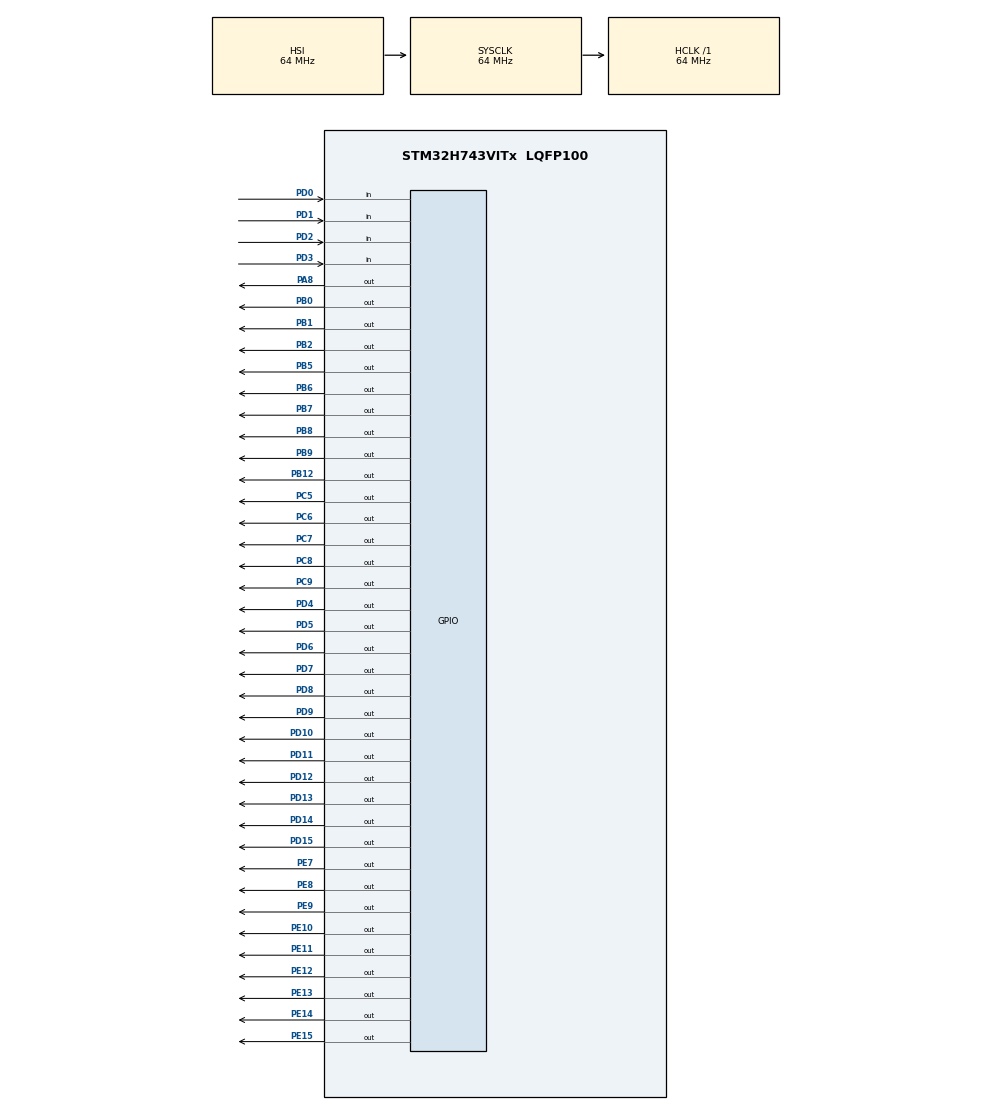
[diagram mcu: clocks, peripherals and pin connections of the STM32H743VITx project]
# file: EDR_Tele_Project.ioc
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CORTEX_M7.default_mode_Activation=1
Mcu.Family=STM32H7
Mcu.Name=STM32H743VITx
Mcu.Package=LQFP100
NVIC.PriorityGroup=NVIC_PRIORITYGROUP_4
PA13\ (JTMS/SWDIO).Signal=DEBUG_JTMS-SWDIO
PA14\ (JTCK/SWCLK).Signal=DEBUG_JTCK-SWCLK
PA8.Signal=GPIO_Output
PB0.Signal=GPIO_Output
PB1.Signal=GPIO_Output
PB12.Signal=GPIO_Output
PB2.Signal=GPIO_Output
PB5.Signal=GPIO_Output
PB6.Signal=GPIO_Output
PB7.Signal=GPIO_Output
PB8.Signal=GPIO_Output
PB9.Signal=GPIO_Output
PC5.Signal=GPIO_Output
PC6.Signal=GPIO_Output
PC7.Signal=GPIO_Output
PC8.Signal=GPIO_Output
PC9.Signal=GPIO_Output
PD0.Signal=GPIO_Input
PD1.Signal=GPIO_Input
PD10.Signal=GPIO_Output
PD11.Signal=GPIO_Output
PD12.Signal=GPIO_Output
PD13.Signal=GPIO_Output
PD14.Signal=GPIO_Output
PD15.Signal=GPIO_Output
PD2.Signal=GPIO_Input
PD3.Signal=GPIO_Input
PD4.Signal=GPIO_Output
PD5.Signal=GPIO_Output
PD6.Signal=GPIO_Output
PD7.Signal=GPIO_Output
PD8.Signal=GPIO_Output
PD9.Signal=GPIO_Output
PE10.Signal=GPIO_Output
PE11.Signal=GPIO_Output
PE12.Signal=GPIO_Output
PE13.Signal=GPIO_Output
PE14.Signal=GPIO_Output
PE15.Signal=GPIO_Output
PE7.Signal=GPIO_Output
PE8.Signal=GPIO_Output
PE9.Signal=GPIO_Output
ProjectManager.HeapSize=0x200
ProjectManager.StackSize=0x400
ProjectManager.TargetToolchain=STM32CubeIDE
RCC.ADCFreq_Value=129000000
RCC.APB1Freq_Value=64000000
RCC.APB2Freq_Value=64000000
RCC.APB3Freq_Value=64000000
RCC.APB4Freq_Value=64000000
RCC.CortexFreq_Value=64000000
RCC.HCLKFreq_Value=64000000
RCC.SYSCLKFreq_VALUE=64000000
RCC.USBFreq_Value=129000000
VP_MEMORYMAP_VS_MEMORYMAP.Mode=CurAppReg
board=custom

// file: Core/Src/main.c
/* USER CODE BEGIN Header */
/**
  ******************************************************************************
  * @file           : main.c
  * @brief          : Typing UI - Accumulating message buffer with digits,
  *                    backspace, and A-E letters, using the proven
  *                    active-high row/no-pull column keypad scan logic.
  ******************************************************************************
  */
/* USER CODE END Header */
#include "main.h"
#include <string.h>
#include <stdio.h>

void SystemClock_Config(void);
static void MPU_Config(void);
static void MX_GPIO_Init(void);

/* USER CODE BEGIN PFP */
/**
  * Generic parallel-bus pin description, so the same driver code can drive
  * either physical display just by passing a different LCD_Pins instance —
  * avoids duplicating every drawing function for Display 2.
  */
typedef struct {
  GPIO_TypeDef* rst_port; uint16_t rst_pin;
  GPIO_TypeDef* cs_port;  uint16_t cs_pin;
  GPIO_TypeDef* rs_port;  uint16_t rs_pin;  // RS/DC
  GPIO_TypeDef* wr_port;  uint16_t wr_pin;
  GPIO_TypeDef* rd_port;  uint16_t rd_pin;
  GPIO_TypeDef* data_port; // 8-bit data bus on bits 8-15 of this port (D0-D7)
} LCD_Pins;

static const LCD_Pins LCD1_PINS = {
  .rst_port = GPIOE, .rst_pin = GPIO_PIN_7,
  .cs_port  = GPIOB, .cs_pin  = GPIO_PIN_2,
  .rs_port  = GPIOB, .rs_pin  = GPIO_PIN_1,
  .wr_port  = GPIOB, .wr_pin  = GPIO_PIN_0,
  .rd_port  = GPIOC, .rd_pin  = GPIO_PIN_5,
  .data_port = GPIOE
};

static const LCD_Pins LCD2_PINS = {
  .rst_port = GPIOC, .rst_pin = GPIO_PIN_6,
  .cs_port  = GPIOC, .cs_pin  = GPIO_PIN_7,
  .rs_port  = GPIOC, .rs_pin  = GPIO_PIN_8,
  .wr_port  = GPIOC, .wr_pin  = GPIO_PIN_9,
  .rd_port  = GPIOA, .rd_pin  = GPIO_PIN_8,
  .data_port = GPIOD
};

static inline void WR_STROBE(const LCD_Pins* lcd);
void write8(const LCD_Pins* lcd, uint8_t d);
void writeCommand(const LCD_Pins* lcd, uint8_t c);
void writeData(const LCD_Pins* lcd, uint8_t d);
void lcdReset(const LCD_Pins* lcd);
void lcdInit(const LCD_Pins* lcd);
void setAddr(const LCD_Pins* lcd, uint16_t x1, uint16_t y1, uint16_t x2, uint16_t y2);
void fillScreen(const LCD_Pins* lcd, uint16_t color);
void drawRectangle(const LCD_Pins* lcd, uint16_t x, uint16_t y, uint16_t w, uint16_t h, uint16_t color);
void drawChar(const LCD_Pins* lcd, char ch, uint16_t x, uint16_t y, uint8_t scale, uint16_t color, uint16_t bg);
void printString(const LCD_Pins* lcd, const char* str, uint16_t x, uint16_t y, uint8_t scale, uint16_t color, uint16_t bg);
void checkNavKeys(void);
void scanMatrixKeypad(void);
void handleMatrixKeyPress(uint8_t row, uint8_t col);
void Process_UI_Screen_Updates(void);
void Append_Char(char c);
void Backspace_Char(void);
void Confirm_Message(void);
void Move_Selection(int8_t delta);
void Confirm_Coding_Selection(void);
void Prob_Digit(uint8_t digit);
void Prob_Backspace(void);
void Confirm_Prob_Entry(void);
/* USER CODE END PFP */

typedef enum {
  STATE_ENTER_MSG,
  STATE_SELECT_CODING,
  STATE_ENTER_PROBS,    // Huffman/Shannon Fano: enter A-E probabilities
  STATE_FIXED_RESULT,   // Fixed Length: show A-E code table
  STATE_CONFIRMED       // Final confirmation screen
} AppState;

static AppState app_state = STATE_ENTER_MSG;
static AppState last_rendered_state = (AppState)-1; // forces first-time full draw
static int8_t coding_selection = 0; // 0=Fixed, 1=Huffman, 2=Shannon Fano
static int8_t last_rendered_selection = -1;

// Probability entry state
static uint8_t  prob_cursor = 0;           // which character (0=A .. 4=E) is active
static uint16_t prob_values[5] = {0,0,0,0,0}; // confirmed % for each character
static uint16_t prob_current = 0;          // digits being typed for the active char
static uint8_t  prob_has_input = 0;        // whether user typed anything yet
static uint8_t  last_prob_cursor = 0xFF;   // track cursor for partial redraws

// ---- CODING RESULT STATE ----
// Binary tree node (max 9 nodes for 5 symbols: 2*5-1)
#define MAX_NODES 9
typedef struct {
  int8_t  left;       // index of left child (-1 = none)
  int8_t  right;      // index of right child (-1 = none)
  int8_t  parent;     // index of parent (-1 = root)
  uint8_t is_leaf;    // 1 if this node is a symbol
  uint8_t symbol;     // 0-4 (A-E) if is_leaf
  uint16_t prob;      // combined probability (sum of children)
  uint16_t node_x;    // pixel x for drawing
  uint16_t node_y;    // pixel y for drawing
} TreeNode;

static TreeNode tree_nodes[MAX_NODES];
static uint8_t  tree_node_count = 0;
static int8_t   tree_root = -1;

// Generated codes for each symbol (A=0..E=4)
static char     sym_codes[5][8];   // e.g. "110\0"
static uint8_t  sym_code_len[5];

// Currently selected symbol on the result screen (for path highlighting)
static int8_t   result_cursor = 0;
static int8_t   last_result_cursor = -1;

void Build_Huffman_Tree(void);
void Build_Shannon_Fano(int8_t* indices, uint8_t count, uint8_t depth, uint8_t node_idx);
int8_t  SF_Make_Node(uint8_t is_leaf, uint8_t symbol, uint16_t prob);
void Layout_Tree(int8_t node, uint16_t x, uint16_t y_min, uint16_t y_max);
void Draw_Tree_On_D2(int8_t highlight_symbol);
void Draw_Result_Table(void);
void Extract_Codes(int8_t node, char* prefix, uint8_t depth);

static const char* coding_options[3] = {
  "Fixed Length Coding",
  "Huffman Coding",
  "Shannon Fano Coding"
};

/* Short descriptions shown on Display 2 while a coding method is selected,
   updating live as the user moves Up/Down before pressing OK. */
static const char* coding_descriptions[3] = {
  "FIXED LENGTH CODING ASSIGNS EVERY SYMBOL THE SAME NUMBER OF BITS, REGARDLESS OF HOW OFTEN IT APPEARS.",
  "HUFFMAN CODING BUILDS A BINARY TREE FROM SYMBOL FREQUENCIES, GIVING SHORTER CODES TO MORE FREQUENT SYMBOLS.",
  "SHANNON FANO CODING SPLITS SYMBOLS INTO TWO GROUPS OF NEARLY EQUAL PROBABILITY, REPEATEDLY, TO BUILD VARIABLE LENGTH CODES."
};

/* Industry Standard 5x7 Font Table for Alpha-Numerics */
const uint8_t standard_font5x7[][5] = {
  {0x3E, 0x51, 0x49, 0x45, 0x3E}, // 0
  {0x00, 0x42, 0x7F, 0x40, 0x00}, // 1
  {0x42, 0x61, 0x51, 0x49, 0x46}, // 2
  {0x21, 0x41, 0x45, 0x4B, 0x31}, // 3
  {0x18, 0x14, 0x12, 0x7F, 0x10}, // 4
  {0x27, 0x45, 0x45, 0x45, 0x39}, // 5
  {0x3C, 0x4A, 0x49, 0x49, 0x30}, // 6
  {0x01, 0x71, 0x09, 0x05, 0x03}, // 7
  {0x36, 0x49, 0x49, 0x49, 0x36}, // 8
  {0x06, 0x49, 0x49, 0x29, 0x1E}, // 9
  {0x7E, 0x11, 0x11, 0x11, 0x7E}, // A
  {0x7F, 0x49, 0x49, 0x49, 0x36}, // B
  {0x3E, 0x41, 0x41, 0x41, 0x22}, // C
  {0x7F, 0x41, 0x41, 0x22, 0x1C}, // D
  {0x7F, 0x49, 0x49, 0x49, 0x41}, // E
  {0x7F, 0x09, 0x09, 0x09, 0x01}, // F
  {0x3E, 0x41, 0x49, 0x49, 0x7A}, // G
  {0x7F, 0x08, 0x08, 0x08, 0x7F}, // H
  {0x00, 0x41, 0x7F, 0x41, 0x00}, // I
  {0x20, 0x40, 0x41, 0x3F, 0x01}, // J
  {0x7F, 0x08, 0x14, 0x22, 0x41}, // K
  {0x7F, 0x40, 0x40, 0x40, 0x40}, // L
  {0x7F, 0x02, 0x0C, 0x02, 0x7F}, // M
  {0x7F, 0x04, 0x08, 0x10, 0x7F}, // N
  {0x3E, 0x41, 0x41, 0x41, 0x3E}, // O
  {0x7F, 0x09, 0x09, 0x09, 0x06}, // P
  {0x3E, 0x41, 0x51, 0x21, 0x5E}, // Q
  {0x7F, 0x09, 0x19, 0x29, 0x46}, // R
  {0x46, 0x49, 0x49, 0x49, 0x31}, // S
  {0x01, 0x01, 0x7F, 0x01, 0x01}, // T
  {0x3F, 0x40, 0x40, 0x40, 0x3F}, // U
  {0x1F, 0x20, 0x40, 0x20, 0x1F}, // V
  {0x3F, 0x40, 0x38, 0x40, 0x3F}, // W
  {0x63, 0x14, 0x08, 0x14, 0x63}, // X
  {0x07, 0x08, 0x70, 0x08, 0x07}, // Y
  {0x61, 0x51, 0x49, 0x45, 0x43}, // Z
  {0x00, 0x00, 0x00, 0x00, 0x00}, // Space
  {0x40, 0x40, 0x40, 0x40, 0x40}, // _ (Cursor)
  {0x00, 0x36, 0x36, 0x00, 0x00}, // : (idx 38)
  {0x00, 0x1C, 0x22, 0x41, 0x00}, // ( (idx 39)
  {0x00, 0x41, 0x22, 0x1C, 0x00}, // ) (idx 40)
  {0x20, 0x10, 0x08, 0x04, 0x02}, // / (idx 41)
  {0x00, 0x60, 0x60, 0x00, 0x00}, // . (idx 42)
  {0x41, 0x22, 0x14, 0x08, 0x00}, // > (idx 43)
  {0x23, 0x13, 0x08, 0x64, 0x62}  // % (idx 44)
};

/* User-confirmed working layout: */
const char matrix_mapping[4][4] = {
  {'E', 'D', 'C', 'B'},
  {'A', '<', '0', '9'},
  {'8', '7', '6', '5'},
  {'4', '3', '2', '1'}
};

/* --- SYSTEM STRING VARIABLES (accumulating message) --- */
char message_buffer[64] = "";
int message_len = 0;

const uint16_t prompt_x = 10;
const uint16_t prompt_y = 15;
const uint8_t  prompt_scale = 2;

const uint16_t msg_x = 10;
const uint16_t msg_y = 60;
const uint8_t  msg_scale = 3;

int main(void)
{
  MPU_Config();
  HAL_Init();
  SystemClock_Config();
  MX_GPIO_Init();

  /* USER CODE BEGIN 2 */
  HAL_GPIO_WritePin(GPIOB, GPIO_PIN_2, GPIO_PIN_SET);
  HAL_GPIO_WritePin(GPIOB, GPIO_PIN_0, GPIO_PIN_SET);
  HAL_GPIO_WritePin(GPIOC, GPIO_PIN_5, GPIO_PIN_SET);

  lcdInit(&LCD1_PINS);
  lcdInit(&LCD2_PINS);

  message_buffer[0] = '\0';
  message_len = 0;

  Process_UI_Screen_Updates();
  /* USER CODE END 2 */

  while (1)
  {
    /* USER CODE BEGIN 3 */
    checkNavKeys();
    scanMatrixKeypad();
    HAL_Delay(10);
    /* USER CODE END 3 */
  }
}

/**
  * @brief Appends a character to the message buffer and refreshes the screen.
  */
void Append_Char(char c)
{
  if (app_state != STATE_ENTER_MSG) return;
  if (message_len < 63) {
    message_buffer[message_len++] = c;
    message_buffer[message_len] = '\0';
    Process_UI_Screen_Updates();
  }
}

/**
  * @brief Removes the last character from the message buffer and refreshes the screen.
  */
void Backspace_Char(void)
{
  if (app_state != STATE_ENTER_MSG) return;
  if (message_len > 0) {
    message_buffer[--message_len] = '\0';
    Process_UI_Screen_Updates();
  }
}

/**
  * @brief OK pressed while entering the message: move to coding-method
  *        selection screen. Ignored if the message is empty.
  */
void Confirm_Message(void)
{
  if (app_state != STATE_ENTER_MSG) return;
  if (message_len == 0) return; // nothing typed yet, ignore OK

  app_state = STATE_SELECT_CODING;
  coding_selection = 0;
  Process_UI_Screen_Updates();
}

/**
  * @brief Up/Down on the coding-selection screen moves the highlighted option.
  */
void Move_Selection(int8_t delta)
{
  if (app_state != STATE_SELECT_CODING) return;

  int8_t next = coding_selection + delta;
  if (next < 0) next = 0;
  if (next > 2) next = 2;

  if (next != coding_selection) {
    coding_selection = next;
    Process_UI_Screen_Updates();
  }
}

/**
  * @brief OK pressed on the coding-selection screen.
  *        Fixed Length -> show code table.
  *        Huffman / Shannon Fano -> enter probability screen.
  */
void Confirm_Coding_Selection(void)
{
  if (app_state != STATE_SELECT_CODING) return;

  if (coding_selection == 0) {
    // Fixed Length Coding — skip probabilities, show code table
    app_state = STATE_FIXED_RESULT;
  } else {
    // Huffman (1) or Shannon Fano (2) — need probabilities
    prob_cursor = 0;
    prob_current = 0;
    prob_has_input = 0;
    last_prob_cursor = 0xFF;
    for (uint8_t i = 0; i < 5; i++) prob_values[i] = 0;
    app_state = STATE_ENTER_PROBS;
  }
  Process_UI_Screen_Updates();
}

/**
  * @brief A digit key was pressed during probability entry.
  *        Builds the current value up to 3 digits (max 100).
  */
void Prob_Digit(uint8_t digit)
{
  if (app_state != STATE_ENTER_PROBS) return;
  uint16_t next = prob_current * 10 + digit;
  if (next > 100) return;
  prob_current = next;
  prob_has_input = 1;
  Process_UI_Screen_Updates();
}

/**
  * @brief Backspace during probability entry: drops the last typed digit.
  */
void Prob_Backspace(void)
{
  if (app_state != STATE_ENTER_PROBS) return;
  prob_current = prob_current / 10;
  Process_UI_Screen_Updates();
}

/**
  * @brief OK pressed during probability entry: confirms the current
  *        character's value and advances the cursor. After E, validates
  *        that all five values sum to 100.
  */
void Confirm_Prob_Entry(void)
{
  if (app_state != STATE_ENTER_PROBS) return;

  prob_values[prob_cursor] = prob_current;
  prob_current = 0;
  prob_has_input = 0;

  if (prob_cursor < 4) {
    prob_cursor++;
    last_prob_cursor = 0xFF;
    Process_UI_Screen_Updates();
  } else {
    uint16_t total = 0;
    for (uint8_t i = 0; i < 5; i++) total += prob_values[i];

    if (total != 100) {
      // Invalid: reset cursor to A, redraw entry screen, show error on D2
      prob_cursor = 0;
      last_prob_cursor = 0xFF;
      last_rendered_state = (AppState)-1; // force full D1 redraw
      Process_UI_Screen_Updates();
      drawRectangle(&LCD2_PINS, 0, 80, 480, 200, 0x0000);
      printString(&LCD2_PINS, "INVALID PROBABILITY", 10, 90, 2, 0xF800, 0x0000);
      printString(&LCD2_PINS, "VALUES. TOTAL MUST", 10, 120, 2, 0xF800, 0x0000);
      printString(&LCD2_PINS, "EQUAL 100%.", 10, 150, 2, 0xF800, 0x0000);
      printString(&LCD2_PINS, "RE-ENTER FROM A.", 10, 180, 2, 0xF800, 0x0000);
    } else {
      result_cursor = 0;
      last_result_cursor = -1;
      app_state = STATE_CONFIRMED;
      Process_UI_Screen_Updates();
    }
  }
}

/**
  * @brief Translates a matrix key press into a buffer edit. Only active
  *        while typing the message: A-E append a letter, '<' backspaces.
  *        Digits and '0' (space) are ignored per spec — only A-E allowed.
  *        Once in the coding-selection state, matrix keys are ignored;
  *        selection is done with nav buttons only.
  */
void handleMatrixKeyPress(uint8_t row, uint8_t col)
{
  char key = matrix_mapping[row][col];

  if (app_state == STATE_ENTER_MSG) {
    if (key == '<') {
      Backspace_Char();
    } else if (key >= 'A' && key <= 'E') {
      Append_Char(key);
    }
    // digits ignored in message entry

  } else if (app_state == STATE_ENTER_PROBS) {
    if (key >= '1' && key <= '9') {
      Prob_Digit(key - '0');
    } else if (key == '0') {
      Prob_Digit(0);
    } else if (key == '<') {
      Prob_Backspace();
    }
    // A-E ignored in probability entry
  }
}

void checkNavKeys(void)
{
  static uint8_t prev_B5 = 1, prev_B6 = 1, prev_B7 = 1, prev_B8 = 1, prev_B9 = 1;

  uint8_t curr_B5 = HAL_GPIO_ReadPin(GPIOB, GPIO_PIN_5); // OK/Enter
  uint8_t curr_B6 = HAL_GPIO_ReadPin(GPIOB, GPIO_PIN_6); // Right (unused)
  uint8_t curr_B7 = HAL_GPIO_ReadPin(GPIOB, GPIO_PIN_7); // Left (unused)
  uint8_t curr_B8 = HAL_GPIO_ReadPin(GPIOB, GPIO_PIN_8); // Down
  uint8_t curr_B9 = HAL_GPIO_ReadPin(GPIOB, GPIO_PIN_9); // Up

  if (prev_B9 == 1 && curr_B9 == 0) { // Up
    if (app_state == STATE_SELECT_CODING) {
      Move_Selection(-1);
    } else if (app_state == STATE_CONFIRMED) {
      if (result_cursor > 0) { result_cursor--; Process_UI_Screen_Updates(); }
    }
  }
  if (prev_B8 == 1 && curr_B8 == 0) { // Down
    if (app_state == STATE_SELECT_CODING) {
      Move_Selection(+1);
    } else if (app_state == STATE_CONFIRMED) {
      if (result_cursor < 4) { result_cursor++; Process_UI_Screen_Updates(); }
    }
  }

  if (prev_B5 == 1 && curr_B5 == 0) {
    if (app_state == STATE_ENTER_MSG) {
      Confirm_Message();
    } else if (app_state == STATE_SELECT_CODING) {
      Confirm_Coding_Selection();
    } else if (app_state == STATE_ENTER_PROBS) {
      Confirm_Prob_Entry();
    }
  }

  prev_B5 = curr_B5; prev_B6 = curr_B6; prev_B7 = curr_B7; prev_B8 = curr_B8; prev_B9 = curr_B9;
}

/**
  * @brief Matrix Keypad Scanner — proven active-high row / no-pull column
  *        logic, confirmed working on this hardware. Unchanged from the
  *        version that correctly registered key changes.
  */
void scanMatrixKeypad(void)
{
    // All rows LOW
    HAL_GPIO_WritePin(GPIOD,
        GPIO_PIN_4 | GPIO_PIN_5 | GPIO_PIN_6 | GPIO_PIN_7,
        GPIO_PIN_RESET);

    for(int r = 0; r < 4; r++)
    {
        // Activate one row
        HAL_GPIO_WritePin(GPIOD, GPIO_PIN_4 << r, GPIO_PIN_SET);

        HAL_Delay(1);

        uint8_t d0 = HAL_GPIO_ReadPin(GPIOD, GPIO_PIN_0);
        uint8_t d1 = HAL_GPIO_ReadPin(GPIOD, GPIO_PIN_1);
        uint8_t d2 = HAL_GPIO_ReadPin(GPIOD, GPIO_PIN_2);
        uint8_t d3 = HAL_GPIO_ReadPin(GPIOD, GPIO_PIN_3);

        if(d0)
        {
            handleMatrixKeyPress(r,0);
            while(HAL_GPIO_ReadPin(GPIOD,GPIO_PIN_0));
        }

        if(d1)
        {
            handleMatrixKeyPress(r,1);
            while(HAL_GPIO_ReadPin(GPIOD,GPIO_PIN_1));
        }

        if(d2)
        {
            handleMatrixKeyPress(r,2);
            while(HAL_GPIO_ReadPin(GPIOD,GPIO_PIN_2));
        }

        if(d3)
        {
            handleMatrixKeyPress(r,3);
            while(HAL_GPIO_ReadPin(GPIOD,GPIO_PIN_3));
        }

        HAL_GPIO_WritePin(GPIOD, GPIO_PIN_4 << r, GPIO_PIN_RESET);
    }
}

/**
  * @brief Redraws only Display 2's description text for the currently
  *        highlighted coding method. Called on state entry and every time
  *        Up/Down changes the selection, so the description updates live
  *        before OK is pressed. Clears just the description's text block
  *        (not the whole Display 2 screen) to minimize flicker, the same
  *        principle used for Display 1's partial redraws.
  */
static void Redraw_Coding_Description(void)
{
  const uint16_t desc_y = 100;
  const uint16_t desc_h = 200; // generous block height for a wrapped 1-2 sentence description
  drawRectangle(&LCD2_PINS, prompt_x, desc_y, 480 - prompt_x, desc_h, 0x0000);
  printString(&LCD2_PINS, coding_options[coding_selection], prompt_x, prompt_y, 2, 0x07E0, 0x0000);
  printString(&LCD2_PINS, coding_descriptions[coding_selection], prompt_x, desc_y, 2, 0xFFFF, 0x0000);
}

/**
  * @brief Redraws only the message line region (used while typing). drawChar
  *        now paints background pixels in the same pass as the glyph, so
  *        there's no separate clear-then-draw flash — text is overwritten
  *        in place. The "> " marker column and one trailing blank cell are
  *        explicitly redrawn so a backspaced character's leftover pixels
  *        are always covered.
  */
static void Redraw_Message_Line(void)
{
  printString(&LCD1_PINS, message_buffer, msg_x, msg_y, msg_scale, 0xFFFF, 0x0000);
  // One extra blank cell past the current text end, to erase the
  // character that was just backspaced off (drawChar already paints its
  // own background, but only for characters printString actually visits).
  uint16_t end_x = msg_x + (uint16_t)strlen(message_buffer) * (6 * msg_scale);
  drawChar(&LCD1_PINS, ' ', end_x, msg_y, msg_scale, 0xFFFF, 0x0000);
}

/**
  * @brief Redraws only the coding-option list (used when the highlighted
  *        selection moves). drawChar paints its own background, so no
  *        separate clear pass is needed here either.
  */
static void Redraw_Coding_Options(void)
{
  uint16_t opt_y = 80;
  for (int8_t i = 0; i < 3; i++) {
    uint16_t color = (i == coding_selection) ? 0xFFE0 : 0xFFFF; // highlight selected in yellow
    // Always redraw the marker column so a previously-selected row's ">"
    // gets overwritten with a blank when selection moves away from it.
    printString(&LCD1_PINS, i == coding_selection ? ">" : " ", prompt_x, opt_y, 2, color, 0x0000);
    printString(&LCD1_PINS, coding_options[i], prompt_x + 20, opt_y, 2, color, 0x0000);
    opt_y += 40;
  }
}

/**
  * @brief Partial redraw of the probability entry rows on Display 1.
  *        Only updates the value column and cursor highlight, so there's
  *        no full-screen flash when the user types a digit.
  */
static void Redraw_Prob_Screen(void)
{
  static const char char_labels[5] = {'A','B','C','D','E'};
  char buf[16];
  uint16_t row_y = 60;

  for (uint8_t i = 0; i < 5; i++) {
    uint16_t label_color = (i == prob_cursor) ? 0xFFE0 : 0xFFFF; // yellow = active
    uint16_t val_color   = (i == prob_cursor) ? 0x07FF : 0xFFFF; // cyan for active value

    // Character label
    snprintf(buf, sizeof(buf), "%c:", char_labels[i]);
    printString(&LCD1_PINS, buf, 10, row_y, 2, label_color, 0x0000);

    // Value: if this is the active row show what is being typed, else show confirmed value
    if (i == prob_cursor) {
      snprintf(buf, sizeof(buf), "%3u%%   ", prob_current);
    } else {
      snprintf(buf, sizeof(buf), "%3u%%   ", prob_values[i]);
    }
    printString(&LCD1_PINS, buf, 60, row_y, 2, val_color, 0x0000);

    row_y += 42;
  }
}

// ============================================================
//  HUFFMAN TREE BUILDER
// ============================================================
void Build_Huffman_Tree(void)
{
  // Working array of active node indices, sorted by prob ascending
  int8_t active[MAX_NODES];
  uint8_t active_count = 5;

  // Create one leaf per symbol
  tree_node_count = 0;
  for (uint8_t i = 0; i < 5; i++) {
    tree_nodes[tree_node_count] = (TreeNode){-1,-1,-1,1,i,prob_values[i],0,0};
    active[i] = (int8_t)tree_node_count++;
  }

  // Sort active by prob ascending (simple insertion sort — only 5 items)
  for (uint8_t i = 1; i < active_count; i++) {
    int8_t key = active[i];
    int8_t j = (int8_t)i - 1;
    while (j >= 0 && tree_nodes[active[j]].prob > tree_nodes[key].prob) {
      active[j+1] = active[j]; j--;
    }
    active[j+1] = key;
  }

  // Iteratively combine two lowest-prob nodes
  while (active_count > 1) {
    int8_t l = active[0], r = active[1];
    uint16_t combined = tree_nodes[l].prob + tree_nodes[r].prob;
    int8_t parent_idx = (int8_t)tree_node_count;
    tree_nodes[parent_idx] = (TreeNode){l, r, -1, 0, 0xFF, combined, 0, 0};
    tree_nodes[l].parent = parent_idx;
    tree_nodes[r].parent = parent_idx;
    tree_node_count++;

    // Remove first two, insert new node in sorted position
    active_count -= 2;
    for (uint8_t k = 0; k < active_count; k++) active[k] = active[k+2];
    uint8_t pos = 0;
    while (pos < active_count && tree_nodes[active[pos]].prob <= combined) pos++;
    for (uint8_t k = active_count; k > pos; k--) active[k] = active[k-1];
    active[pos] = parent_idx;
    active_count++;
  }
  tree_root = active[0];
}

// ============================================================
//  SHANNON-FANO TREE BUILDER
// ============================================================
int8_t SF_Make_Node(uint8_t is_leaf, uint8_t symbol, uint16_t prob)
{
  int8_t idx = (int8_t)tree_node_count++;
  tree_nodes[idx] = (TreeNode){-1,-1,-1,is_leaf,symbol,prob,0,0};
  return idx;
}

// indices[] = sorted (desc prob) symbol indices for this subgroup
// node_idx  = the internal node index to attach children to
void Build_Shannon_Fano(int8_t* indices, uint8_t count, uint8_t depth, uint8_t node_idx)
{
  if (count == 1) {
    // This index is already a leaf — attach directly
    tree_nodes[node_idx].is_leaf = 1;
    tree_nodes[node_idx].symbol  = (uint8_t)indices[0];
    return;
  }

  // Split into two groups of nearly equal cumulative probability
  uint16_t total = 0;
  for (uint8_t i = 0; i < count; i++) total += prob_values[indices[i]];
  uint16_t half = total / 2, running = 0;
  uint8_t split = 1;
  for (uint8_t i = 0; i < count - 1; i++) {
    running += prob_values[indices[i]];
    uint16_t diff_before = (half > running) ? (half - running) : (running - half);
    uint16_t diff_after  = (half > running + prob_values[indices[i+1]])
                         ? (half - running - prob_values[indices[i+1]])
                         : (running + prob_values[indices[i+1]] - half);
    if (diff_after < diff_before) split = i + 2; else { split = i + 1; break; }
  }

  // Left child (bit 0)
  uint16_t lp = 0; for (uint8_t i = 0; i < split; i++) lp += prob_values[indices[i]];
  int8_t l_idx = SF_Make_Node(0, 0xFF, lp);
  tree_nodes[node_idx].left = l_idx;
  tree_nodes[l_idx].parent  = (int8_t)node_idx;
  Build_Shannon_Fano(indices, split, depth+1, (uint8_t)l_idx);

  // Right child (bit 1)
  uint16_t rp = 0; for (uint8_t i = split; i < count; i++) rp += prob_values[indices[i]];
  int8_t r_idx = SF_Make_Node(0, 0xFF, rp);
  tree_nodes[node_idx].right = r_idx;
  tree_nodes[r_idx].parent   = (int8_t)node_idx;
  Build_Shannon_Fano(indices + split, count - split, depth+1, (uint8_t)r_idx);
}

// ============================================================
//  CODE EXTRACTION  (depth-first traversal)
// ============================================================
void Extract_Codes(int8_t node, char* prefix, uint8_t depth)
{
  if (node < 0 || depth > 7) return;
  if (tree_nodes[node].is_leaf) {
    uint8_t sym = tree_nodes[node].symbol;
    if (sym < 5) {
      prefix[depth] = '\0';
      for (uint8_t i = 0; i < depth; i++) sym_codes[sym][i] = prefix[i];
      sym_codes[sym][depth] = '\0';
      sym_code_len[sym] = depth;
    }
    return;
  }
  prefix[depth] = '0';
  Extract_Codes(tree_nodes[node].left,  prefix, depth+1);
  prefix[depth] = '1';
  Extract_Codes(tree_nodes[node].right, prefix, depth+1);
}

// ============================================================
//  TREE LAYOUT  (horizontal: root left, leaves right)
//  Assigns pixel x,y to every node recursively.
//  x is proportional to depth; y is spread evenly across [y_min, y_max].
// ============================================================
void Layout_Tree(int8_t node, uint16_t x, uint16_t y_min, uint16_t y_max)
{
  if (node < 0) return;
  tree_nodes[node].node_x = x;
  tree_nodes[node].node_y = (y_min + y_max) / 2;

  if (!tree_nodes[node].is_leaf) {
    uint16_t x_next = x + 90; // horizontal step per level
    uint16_t y_mid  = (y_min + y_max) / 2;
    Layout_Tree(tree_nodes[node].left,  x_next, y_min, y_mid);
    Layout_Tree(tree_nodes[node].right, x_next, y_mid, y_max);
  }
}

// ============================================================
//  DRAW A SINGLE TREE EDGE + NODE CIRCLE
// ============================================================
static void Draw_Tree_Edge(int8_t parent, int8_t child, uint8_t bit, uint16_t color)
{
  if (parent < 0 || child < 0) return;
  uint16_t x1 = tree_nodes[parent].node_x;
  uint16_t y1 = tree_nodes[parent].node_y;
  uint16_t x2 = tree_nodes[child].node_x;
  uint16_t y2 = tree_nodes[child].node_y;

  // Draw line as a series of small rectangles (1px wide)
  int16_t dx = (int16_t)x2 - x1, dy = (int16_t)y2 - y1;
  uint8_t steps = (uint8_t)(dx > 0 ? dx : -dx);
  if ((uint8_t)(dy > 0 ? dy : -dy) > steps) steps = (uint8_t)(dy > 0 ? dy : -dy);
  if (steps == 0) return;
  for (uint8_t s = 0; s <= steps; s++) {
    uint16_t px = (uint16_t)(x1 + (int16_t)s * dx / steps);
    uint16_t py = (uint16_t)(y1 + (int16_t)s * dy / steps);
    drawRectangle(&LCD2_PINS, px, py, 2, 2, color);
  }

  // Draw 0/1 label midway along the edge
  uint16_t mx = (uint16_t)(x1 + dx/2 - 4);
  uint16_t my = (uint16_t)(y1 + dy/2 - 4);
  char label[2] = {(char)('0' + bit), '\0'};
  printString(&LCD2_PINS, label, mx, my, 1, color, 0x0000);
}

// ============================================================
//  FULL TREE DRAW ON DISPLAY 2
//  highlight_symbol: 0-4 to colour that path, 0xFF = none
// ============================================================
void Draw_Tree_On_D2(int8_t highlight_symbol)
{
  fillScreen(&LCD2_PINS, 0x0000);

  if (tree_root < 0) return;

  // Determine which nodes are on the highlighted path
  uint8_t on_path[MAX_NODES] = {0};
  if (highlight_symbol < 5) {
    // Walk from leaf up to root, marking path nodes
    // Find the leaf for this symbol
    int8_t leaf = -1;
    for (uint8_t n = 0; n < tree_node_count; n++) {
      if (tree_nodes[n].is_leaf && tree_nodes[n].symbol == (uint8_t)highlight_symbol) {
        leaf = (int8_t)n; break;
      }
    }
    int8_t cur = leaf;
    while (cur >= 0) { on_path[cur] = 1; cur = tree_nodes[cur].parent; }
  }

  // Draw all edges first (grey base, then highlight on top)
  for (uint8_t n = 0; n < tree_node_count; n++) {
    if (tree_nodes[n].left >= 0) {
      int8_t child = tree_nodes[n].left;
      uint16_t color = (on_path[n] && on_path[child]) ? 0x07E0 : 0x4208; // green or dark grey
      Draw_Tree_Edge((int8_t)n, child, 0, color);
    }
    if (tree_nodes[n].right >= 0) {
      int8_t child = tree_nodes[n].right;
      uint16_t color = (on_path[n] && on_path[child]) ? 0x07E0 : 0x4208;
      Draw_Tree_Edge((int8_t)n, child, 1, color);
    }
  }

  // Draw nodes on top of edges
  for (uint8_t n = 0; n < tree_node_count; n++) {
    uint16_t nx = tree_nodes[n].node_x;
    uint16_t ny = tree_nodes[n].node_y;
    uint16_t node_color = on_path[n] ? 0x07E0 : 0xAD55; // green or grey

    if (tree_nodes[n].is_leaf) {
      // Leaf: draw filled square + symbol label
      node_color = on_path[n] ? 0xFFE0 : 0x3186; // yellow highlight or blue-grey
      drawRectangle(&LCD2_PINS, nx-6, ny-6, 13, 13, node_color);
      char sym[3];
      sym[0] = 'A' + tree_nodes[n].symbol;
      sym[1] = '\0';
      printString(&LCD2_PINS, sym, nx-4, ny-5, 1, 0x0000, node_color);
    } else {
      // Internal node: small circle (drawn as filled square)
      drawRectangle(&LCD2_PINS, nx-4, ny-4, 9, 9, node_color);
    }
    char prob_buf[8];
    snprintf(prob_buf, sizeof(prob_buf), "%u/100", tree_nodes[n].prob);
    printString(&LCD2_PINS, prob_buf, nx-15, ny+10, 1, 0xFFFF, 0x0000);
  }
}

// ============================================================
//  DISPLAY 1: CODE TABLE WITH HIGHLIGHTED ROW
// ============================================================
void Draw_Result_Table(void)
{
  static const char labels[5] = {'A','B','C','D','E'};
  char buf[24];
  uint16_t row_y = 55;

  for (uint8_t i = 0; i < 5; i++) {
    uint16_t fg = (i == (uint8_t)result_cursor) ? 0x0000 : 0xFFFF;
    uint16_t bg = (i == (uint8_t)result_cursor) ? 0x07E0 : 0x0000; // green highlight
    snprintf(buf, sizeof(buf), "%c %3u%% %s", labels[i], prob_values[i], sym_codes[i]);
    // Pad to fixed width so background covers old longer codes cleanly
    printString(&LCD1_PINS, buf, 10, row_y, 2, fg, bg);
    // Fill rest of row with bg to avoid leftover pixels
    drawRectangle(&LCD1_PINS, 10 + (int16_t)strlen(buf)*12, row_y, 480-10-(int16_t)strlen(buf)*12, 18, bg);
    row_y += 46;
  }
}

/**
  * @brief Draws the static (unchanging) parts of each screen. Only called
  *        once per state transition — this is the only place that does a
  *        full-screen clear, which is what was causing the black flash on
  *        every single keypress before.
  */
static void Draw_Static_Screen(void)
{
  fillScreen(&LCD1_PINS, 0x0000);
  fillScreen(&LCD2_PINS, 0x0000);

  if (app_state == STATE_ENTER_MSG) {
    printString(&LCD1_PINS, "ENTER MSG (A-E):", prompt_x, prompt_y, prompt_scale, 0x07E0, 0x0000);
    printString(&LCD1_PINS, "PRESS OK WHEN DONE", prompt_x, 280, 2, 0xFFE0, 0x0000);

    printString(&LCD2_PINS, "ENTER THE MESSAGE TO BE", prompt_x, prompt_y, 2, 0x07E0, 0x0000);
    printString(&LCD2_PINS, "TRANSMITTED.", prompt_x, prompt_y + 20, 2, 0x07E0, 0x0000);

  } else if (app_state == STATE_SELECT_CODING) {
    printString(&LCD1_PINS, "SELECT SOURCE", prompt_x, prompt_y, prompt_scale, 0x07E0, 0x0000);
    printString(&LCD1_PINS, "CODING METHOD:", prompt_x, prompt_y + 20, prompt_scale, 0x07E0, 0x0000);
    printString(&LCD1_PINS, "UP/DOWN: CHOOSE  OK: CONFIRM", prompt_x, 280, 1, 0x07E0, 0x0000);
    // Display 2 description drawn by Process_UI_Screen_Updates via Redraw_Coding_Description

  } else if (app_state == STATE_ENTER_PROBS) {
    printString(&LCD1_PINS, "ENTER THE", prompt_x, prompt_y, 2, 0x07E0, 0x0000);
    printString(&LCD1_PINS, "PROBABILITIES:", prompt_x, prompt_y + 20, 2, 0x07E0, 0x0000);
    printString(&LCD1_PINS, "TYPE % THEN OK", prompt_x, 278, 1, 0xFFE0, 0x0000);

    printString(&LCD2_PINS, "ENTER PROBABILITIES AS", prompt_x, prompt_y, 2, 0x07E0, 0x0000);
    printString(&LCD2_PINS, "PERCENTAGES.", prompt_x, prompt_y + 20, 2, 0x07E0, 0x0000);
    printString(&LCD2_PINS, "ALL 5 VALUES MUST SUM", prompt_x, 80, 2, 0xFFFF, 0x0000);
    printString(&LCD2_PINS, "TO 100%.", prompt_x, 110, 2, 0xFFFF, 0x0000);

  } else if (app_state == STATE_FIXED_RESULT) {
    // Fixed Length code table: A-E -> 3-bit codes
    printString(&LCD1_PINS, "FIXED LENGTH CODES:", prompt_x, prompt_y, 2, 0x07E0, 0x0000);
    static const char* fixed_codes[5] = {"A: 000","B: 001","C: 011","D: 010","E: 110"};
    uint16_t fy = 60;
    for (uint8_t i = 0; i < 5; i++) {
      printString(&LCD1_PINS, fixed_codes[i], 40, fy, 3, 0xFFFF, 0x0000);
      fy += 48;
    }
    printString(&LCD2_PINS, "FIXED LENGTH CODING", prompt_x, prompt_y, 2, 0x07E0, 0x0000);
    printString(&LCD2_PINS, "ASSIGNS EQUAL BIT", prompt_x, 50, 2, 0xFFFF, 0x0000);
    printString(&LCD2_PINS, "LENGTH TO EACH SYMBOL.", prompt_x, 80, 2, 0xFFFF, 0x0000);

  } else if (app_state == STATE_CONFIRMED) {
    // Build tree, extract codes, layout for drawing
    tree_node_count = 0; tree_root = -1;
    for (uint8_t i = 0; i < 5; i++) { sym_codes[i][0]='\0'; sym_code_len[i]=0; }

    if (coding_selection == 1) {
      // Huffman
      Build_Huffman_Tree();
    } else {
      // Shannon-Fano: sort symbols by prob descending
      int8_t sf_idx[5] = {0,1,2,3,4};
      for (uint8_t i = 1; i < 5; i++) {
        int8_t key = sf_idx[i]; int8_t j = (int8_t)i-1;
        while (j >= 0 && prob_values[sf_idx[j]] < prob_values[key]) { sf_idx[j+1]=sf_idx[j]; j--; }
        sf_idx[j+1] = key;
      }
      // Create root node, then recursively build tree
      tree_root = SF_Make_Node(0, 0xFF, 100);
      Build_Shannon_Fano(sf_idx, 5, 0, (uint8_t)tree_root);
    }

    char prefix_buf[8];
    Extract_Codes(tree_root, prefix_buf, 0);

    // Layout: root at x=20, spread y across 30..290 (leaves need room)
    Layout_Tree(tree_root, 20, 10, 310);

    // Draw Display 1 header
    printString(&LCD1_PINS, coding_selection==1 ? "HUFFMAN CODING" : "SHANNON FANO", 10, prompt_y, 2, 0x07E0, 0x0000);
    printString(&LCD1_PINS, "UP/DOWN: SELECT CHAR", 10, 278, 1, 0xFFE0, 0x0000);

    // Draw Display 2 tree (no highlight yet — will be drawn in Process_UI)
    // (handled by partial-update path below)
  }
}

/**
  * @brief Top-level redraw dispatcher. Does a full-screen redraw only when
  *        the app state actually changed; otherwise only repaints the
  *        specific region that changed (message text, selection highlight,
  *        or probability row), avoiding the full-screen black flash.
  */
void Process_UI_Screen_Updates(void)
{
  uint8_t state_changed = (app_state != last_rendered_state);

  if (state_changed) {
    Draw_Static_Screen();
    last_rendered_state = app_state;
    last_rendered_selection = -1;
    last_prob_cursor = 0xFF;
  }

  if (app_state == STATE_ENTER_MSG) {
    Redraw_Message_Line();

  } else if (app_state == STATE_SELECT_CODING) {
    if (state_changed || coding_selection != last_rendered_selection) {
      Redraw_Coding_Options();
      Redraw_Coding_Description();
      last_rendered_selection = coding_selection;
    }

  } else if (app_state == STATE_ENTER_PROBS) {
    // Redraw the full character list — each row is small and fast;
    // doing all 5 avoids tracking individual-row dirty state.
    Redraw_Prob_Screen();
    last_prob_cursor = prob_cursor;

  } else if (app_state == STATE_CONFIRMED) {
    // Redraw D1 code table and D2 highlighted tree path whenever cursor moves
    if (state_changed || result_cursor != last_result_cursor) {
      Draw_Result_Table();
      Draw_Tree_On_D2(result_cursor);
      last_result_cursor = result_cursor;
    }
  }
  // STATE_FIXED_RESULT: nothing to update after static draw.
}

/* USER CODE BEGIN 4 */
void drawChar(const LCD_Pins* lcd, char ch, uint16_t x, uint16_t y, uint8_t scale, uint16_t color, uint16_t bg)
{
  uint8_t idx = 36;
  if (ch >= 'a' && ch <= 'z') ch = ch - 'a' + 'A'; // fold lowercase to uppercase glyphs

  if (ch >= '0' && ch <= '9') idx = ch - '0';
  else if (ch >= 'A' && ch <= 'Z') idx = (ch - 'A') + 10;
  else if (ch == '_') idx = 37;
  else if (ch == ' ') idx = 36;
  else if (ch == ':') idx = 38;
  else if (ch == '(') idx = 39;
  else if (ch == ')') idx = 40;
  else if (ch == '/') idx = 41;
  else if (ch == '.') idx = 42;
  else if (ch == '>') idx = 43;
  else if (ch == '%') idx = 44;

  // Draw the full 5x8 cell in one pass — every pixel gets either the
  // foreground or background color, so the caller doesn't need to clear
  // the area first. That separate clear-then-draw was the source of the
  // remaining flicker: a visible black gap between the clear and the text
  // appearing.
  for (uint8_t col = 0; col < 5; col++) {
    uint8_t line = standard_font5x7[idx][col];
    for (uint8_t row = 0; row < 8; row++) {
      uint16_t pixel_color = (line & 0x01) ? color : bg;
      drawRectangle(lcd, x + (col * scale), y + (row * scale), scale, scale, pixel_color);
      line >>= 1;
    }
  }
  // Column gap between characters also needs to be painted with bg,
  // otherwise leftover pixels from a previous longer string remain there.
  drawRectangle(lcd, x + (5 * scale), y, scale, 8 * scale, bg);
}

void printString(const LCD_Pins* lcd, const char* str, uint16_t x, uint16_t y, uint8_t scale, uint16_t color, uint16_t bg)
{
  uint16_t start_x = x;
  uint16_t char_width = 6 * scale;
  while (*str) {
    if (x + char_width > 480) {
      x = start_x;
      y += 8 * scale;
    }
    drawChar(lcd, *str, x, y, scale, color, bg);
    x += char_width;
    str++;
  }
}

void drawRectangle(const LCD_Pins* lcd, uint16_t x, uint16_t y, uint16_t w, uint16_t h, uint16_t color)
{
  setAddr(lcd, x, y, x + w - 1, y + h - 1);
  HAL_GPIO_WritePin(lcd->rs_port, lcd->rs_pin, GPIO_PIN_SET);
  HAL_GPIO_WritePin(lcd->cs_port, lcd->cs_pin, GPIO_PIN_RESET);

  uint8_t hi = color >> 8; uint8_t lo = color & 0xFF;
  uint32_t hi_bsrr = 0xFF000000 | ((uint32_t)hi << 8);
  uint32_t lo_bsrr = 0xFF000000 | ((uint32_t)lo << 8);
  uint32_t wr_set_bsrr = lcd->wr_pin;
  uint32_t wr_reset_bsrr = (uint32_t)lcd->wr_pin << 16;

  uint32_t total_pixels = (uint32_t)w * h;
  for(uint32_t i = 0; i < total_pixels; i++)
  {
      lcd->data_port->BSRR = hi_bsrr; lcd->wr_port->BSRR = wr_reset_bsrr; __asm__ volatile("nop"); lcd->wr_port->BSRR = wr_set_bsrr;
      lcd->data_port->BSRR = lo_bsrr; lcd->wr_port->BSRR = wr_reset_bsrr; __asm__ volatile("nop"); lcd->wr_port->BSRR = wr_set_bsrr;
  }
  HAL_GPIO_WritePin(lcd->cs_port, lcd->cs_pin, GPIO_PIN_SET);
}

static inline void WR_STROBE(const LCD_Pins* lcd) {
  lcd->wr_port->BSRR = (uint32_t)lcd->wr_pin << 16;
  __asm__ volatile("nop");
  lcd->wr_port->BSRR = lcd->wr_pin;
}
void write8(const LCD_Pins* lcd, uint8_t d) { lcd->data_port->BSRR = 0xFF000000 | ((uint32_t)d << 8); WR_STROBE(lcd); }
void writeCommand(const LCD_Pins* lcd, uint8_t c) { HAL_GPIO_WritePin(lcd->rs_port, lcd->rs_pin, GPIO_PIN_RESET); HAL_GPIO_WritePin(lcd->cs_port, lcd->cs_pin, GPIO_PIN_RESET); write8(lcd, c); HAL_GPIO_WritePin(lcd->cs_port, lcd->cs_pin, GPIO_PIN_SET); }
void writeData(const LCD_Pins* lcd, uint8_t d) { HAL_GPIO_WritePin(lcd->rs_port, lcd->rs_pin, GPIO_PIN_SET); HAL_GPIO_WritePin(lcd->cs_port, lcd->cs_pin, GPIO_PIN_RESET); write8(lcd, d); HAL_GPIO_WritePin(lcd->cs_port, lcd->cs_pin, GPIO_PIN_SET); }
void lcdReset(const LCD_Pins* lcd) { HAL_GPIO_WritePin(lcd->rst_port, lcd->rst_pin, GPIO_PIN_RESET); HAL_Delay(20); HAL_GPIO_WritePin(lcd->rst_port, lcd->rst_pin, GPIO_PIN_SET); HAL_Delay(150); }
void lcdInit(const LCD_Pins* lcd) { HAL_GPIO_WritePin(lcd->rd_port, lcd->rd_pin, GPIO_PIN_SET); lcdReset(lcd); writeCommand(lcd, 0x01); HAL_Delay(120); writeCommand(lcd, 0x11); HAL_Delay(120); writeCommand(lcd, 0x3A); writeData(lcd, 0x55); writeCommand(lcd, 0x36); writeData(lcd, 0x28); writeCommand(lcd, 0x29); HAL_Delay(20); }
void setAddr(const LCD_Pins* lcd, uint16_t x1, uint16_t y1, uint16_t x2, uint16_t y2) { writeCommand(lcd, 0x2A); writeData(lcd, x1 >> 8); writeData(lcd, x1); writeData(lcd, x2 >> 8); writeData(lcd, x2); writeCommand(lcd, 0x2B); writeData(lcd, y1 >> 8); writeData(lcd, y1); writeData(lcd, y2 >> 8); writeData(lcd, y2); writeCommand(lcd, 0x2C); }
void fillScreen(const LCD_Pins* lcd, uint16_t color) { drawRectangle(lcd, 0, 0, 480, 320, color); }
/* USER CODE END 4 */

void SystemClock_Config(void)
{
  RCC_OscInitTypeDef RCC_OscInitStruct = {0};
  RCC_ClkInitTypeDef RCC_ClkInitStruct = {0};
  HAL_PWREx_ConfigSupply(PWR_LDO_SUPPLY);
  __HAL_PWR_VOLTAGESCALING_CONFIG(PWR_REGULATOR_VOLTAGE_SCALE3);
  while(!__HAL_PWR_GET_FLAG(PWR_FLAG_VOSRDY)) {}
  RCC_OscInitStruct.OscillatorType = RCC_OSCILLATORTYPE_HSI;
  RCC_OscInitStruct.HSIState = RCC_HSI_DIV1;
  RCC_OscInitStruct.HSICalibrationValue = RCC_HSICALIBRATION_DEFAULT;
  RCC_OscInitStruct.PLL.PLLState = RCC_PLL_NONE;
  if (HAL_RCC_OscConfig(&RCC_OscInitStruct) != HAL_OK) { Error_Handler(); }
  RCC_ClkInitStruct.ClockType = RCC_CLOCKTYPE_HCLK|RCC_CLOCKTYPE_SYSCLK|RCC_CLOCKTYPE_PCLK1|RCC_CLOCKTYPE_PCLK2|RCC_CLOCKTYPE_D3PCLK1|RCC_CLOCKTYPE_D1PCLK1;
  RCC_ClkInitStruct.SYSCLKSource = RCC_SYSCLKSOURCE_HSI;
  RCC_ClkInitStruct.SYSCLKDivider = RCC_SYSCLK_DIV1;
  RCC_ClkInitStruct.AHBCLKDivider = RCC_HCLK_DIV1;
  if (HAL_RCC_ClockConfig(&RCC_ClkInitStruct, FLASH_LATENCY_1) != HAL_OK) { Error_Handler(); }
}

static void MX_GPIO_Init(void)
{
  GPIO_InitTypeDef GPIO_InitStruct = {0};
  __HAL_RCC_GPIOC_CLK_ENABLE();
  __HAL_RCC_GPIOB_CLK_ENABLE();
  __HAL_RCC_GPIOE_CLK_ENABLE();
  __HAL_RCC_GPIOA_CLK_ENABLE();
  __HAL_RCC_GPIOD_CLK_ENABLE();

  HAL_GPIO_WritePin(GPIOC, GPIO_PIN_5, GPIO_PIN_RESET);
  HAL_GPIO_WritePin(GPIOB, GPIO_PIN_0|GPIO_PIN_1|GPIO_PIN_2, GPIO_PIN_RESET);
  HAL_GPIO_WritePin(GPIOE, GPIO_PIN_7|GPIO_PIN_8|GPIO_PIN_9|GPIO_PIN_10|GPIO_PIN_11|GPIO_PIN_12|GPIO_PIN_13|GPIO_PIN_14|GPIO_PIN_15, GPIO_PIN_RESET);
  HAL_GPIO_WritePin(GPIOD, GPIO_PIN_4|GPIO_PIN_5|GPIO_PIN_6|GPIO_PIN_7, GPIO_PIN_SET);

  GPIO_InitStruct.Pin = GPIO_PIN_5;
  GPIO_InitStruct.Mode = GPIO_MODE_OUTPUT_PP;
  GPIO_InitStruct.Pull = GPIO_NOPULL;
  GPIO_InitStruct.Speed = GPIO_SPEED_FREQ_VERY_HIGH;
  HAL_GPIO_Init(GPIOC, &GPIO_InitStruct);

  GPIO_InitStruct.Pin = GPIO_PIN_0|GPIO_PIN_1|GPIO_PIN_2;
  GPIO_InitStruct.Mode = GPIO_MODE_OUTPUT_PP;
  GPIO_InitStruct.Pull = GPIO_NOPULL;
  GPIO_InitStruct.Speed = GPIO_SPEED_FREQ_VERY_HIGH;
  HAL_GPIO_Init(GPIOB, &GPIO_InitStruct);

  GPIO_InitStruct.Pin = GPIO_PIN_5|GPIO_PIN_6|GPIO_PIN_7|GPIO_PIN_8|GPIO_PIN_9;
  GPIO_InitStruct.Mode = GPIO_MODE_INPUT;
  GPIO_InitStruct.Pull = GPIO_NOPULL;
  HAL_GPIO_Init(GPIOB, &GPIO_InitStruct);

  GPIO_InitStruct.Pin = GPIO_PIN_7|GPIO_PIN_8|GPIO_PIN_9|GPIO_PIN_10|GPIO_PIN_11|GPIO_PIN_12|GPIO_PIN_13|GPIO_PIN_14|GPIO_PIN_15;
  GPIO_InitStruct.Mode = GPIO_MODE_OUTPUT_PP;
  GPIO_InitStruct.Pull = GPIO_NOPULL;
  GPIO_InitStruct.Speed = GPIO_SPEED_FREQ_VERY_HIGH;
  HAL_GPIO_Init(GPIOE, &GPIO_InitStruct);

  // MATRIX COLUMNS INPUTS (PD0-PD3)
  GPIO_InitStruct.Pin = GPIO_PIN_0|GPIO_PIN_1|GPIO_PIN_2|GPIO_PIN_3;
  GPIO_InitStruct.Mode = GPIO_MODE_INPUT;
  GPIO_InitStruct.Pull = GPIO_NOPULL;
  HAL_GPIO_Init(GPIOD, &GPIO_InitStruct);

  // MATRIX ROWS OUTPUTS (PD4-PD7)
  GPIO_InitStruct.Pin = GPIO_PIN_4|GPIO_PIN_5|GPIO_PIN_6|GPIO_PIN_7;
  GPIO_InitStruct.Mode = GPIO_MODE_OUTPUT_PP;
  GPIO_InitStruct.Pull = GPIO_NOPULL;
  GPIO_InitStruct.Speed = GPIO_SPEED_FREQ_LOW;
  HAL_GPIO_Init(GPIOD, &GPIO_InitStruct);

  // ---- DISPLAY 2 CONFIGURATION ----
  // D2 RST=PC6, CS=PC7, RS=PC8, WR=PC9 — control outputs on GPIOC
  HAL_GPIO_WritePin(GPIOC, GPIO_PIN_6|GPIO_PIN_7|GPIO_PIN_8|GPIO_PIN_9, GPIO_PIN_RESET);
  GPIO_InitStruct.Pin = GPIO_PIN_6|GPIO_PIN_7|GPIO_PIN_8|GPIO_PIN_9;
  GPIO_InitStruct.Mode = GPIO_MODE_OUTPUT_PP;
  GPIO_InitStruct.Pull = GPIO_NOPULL;
  GPIO_InitStruct.Speed = GPIO_SPEED_FREQ_VERY_HIGH;
  HAL_GPIO_Init(GPIOC, &GPIO_InitStruct);

  // D2 RD=PA8 — output, idle high
  HAL_GPIO_WritePin(GPIOA, GPIO_PIN_8, GPIO_PIN_SET);
  GPIO_InitStruct.Pin = GPIO_PIN_8;
  GPIO_InitStruct.Mode = GPIO_MODE_OUTPUT_PP;
  GPIO_InitStruct.Pull = GPIO_NOPULL;
  GPIO_InitStruct.Speed = GPIO_SPEED_FREQ_VERY_HIGH;
  HAL_GPIO_Init(GPIOA, &GPIO_InitStruct);

  // D2 data bus D0-D7 on PD8-PD15 (upper byte of Port D)
  // Note: PD0-PD7 already configured above for keypad; PD8-PD15 are independent.
  HAL_GPIO_WritePin(GPIOD, GPIO_PIN_8|GPIO_PIN_9|GPIO_PIN_10|GPIO_PIN_11|GPIO_PIN_12|GPIO_PIN_13|GPIO_PIN_14|GPIO_PIN_15, GPIO_PIN_RESET);
  GPIO_InitStruct.Pin = GPIO_PIN_8|GPIO_PIN_9|GPIO_PIN_10|GPIO_PIN_11|GPIO_PIN_12|GPIO_PIN_13|GPIO_PIN_14|GPIO_PIN_15;
  GPIO_InitStruct.Mode = GPIO_MODE_OUTPUT_PP;
  GPIO_InitStruct.Pull = GPIO_NOPULL;
  GPIO_InitStruct.Speed = GPIO_SPEED_FREQ_VERY_HIGH;
  HAL_GPIO_Init(GPIOD, &GPIO_InitStruct);
}

void MPU_Config(void)
{
  MPU_Region_InitTypeDef MPU_InitStruct = {0};
  HAL_MPU_Disable();
  MPU_InitStruct.Enable = MPU_REGION_ENABLE;
  MPU_InitStruct.Number = MPU_REGION_NUMBER0;
  MPU_InitStruct.BaseAddress = 0x0;
  MPU_InitStruct.Size = MPU_REGION_SIZE_4GB;
  MPU_InitStruct.SubRegionDisable = 0x87;
  MPU_InitStruct.AccessPermission = MPU_REGION_NO_ACCESS;
  MPU_InitStruct.DisableExec = MPU_INSTRUCTION_ACCESS_DISABLE;
  HAL_MPU_ConfigRegion(&MPU_InitStruct);
  HAL_MPU_Enable(MPU_PRIVILEGED_DEFAULT);
}

void Error_Handler(void) { __disable_irq(); while (1) {} }
